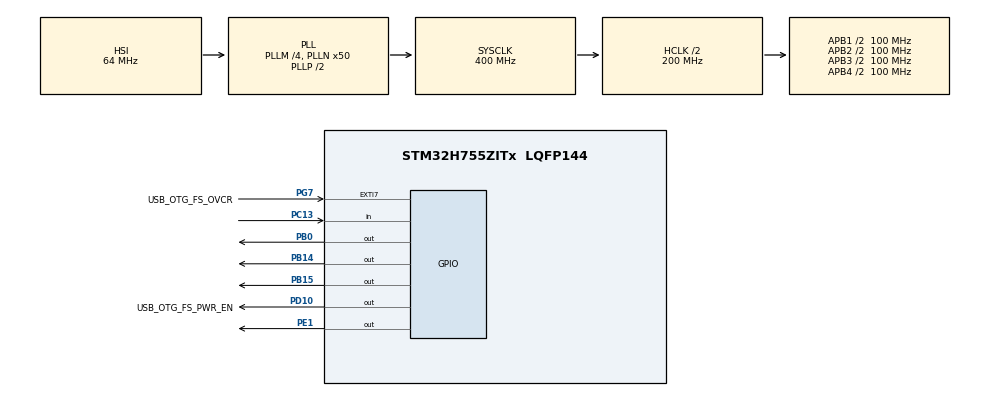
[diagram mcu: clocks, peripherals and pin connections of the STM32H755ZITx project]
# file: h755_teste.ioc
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CortexM4.IPs=FATFS_M4\:I,FREERTOS_M4\:I,IWDG2\:I,RCC,WWDG2\:I,DMA,BDMA,MDMA,NVIC2\:I,ETH,USART3,DEBUG,PDM2PCM_M4\:I,PWR,RESMGR_UTILITY,SYS_M4\:I,USB_DEVICE_M4\:I,USB_HOST_M4\:I,CORTEX_M4\:I,GPIO,OPENAMP_M4\:I,VREFBUF,NUCLEO-H755ZI-Q
CortexM4.Pins=PB0,PB14,PE1
CortexM7.IPs=FATFS_M7\:I,FREERTOS_M7\:I,IWDG1\:I,RCC\:I,WWDG1\:I,DMA\:I,BDMA\:I,MDMA\:I,NVIC1\:I,ETH\:I,USART3\:I,USB_OTG_FS\:I,SYS\:I,CORTEX_M7\:I,DEBUG\:I,PDM2PCM_M7\:I,PWR\:I,RESMGR_UTILITY\:I,USB_DEVICE_M7\:I,USB_HOST_M7\:I,GPIO\:I,OPENAMP_M7\:I,VREFBUF\:I,NUCLEO-H755ZI-Q\:I,MEMORYMAP\:I
CortexM7.Pins=PB15
Mcu.Family=STM32H7
Mcu.Name=STM32H755ZITx
Mcu.Package=LQFP144
NVIC1.PriorityGroup=NVIC_PRIORITYGROUP_4
NVIC2.PriorityGroup=NVIC_PRIORITYGROUP_4
PA1.PinAttribute=CortexM7
PA1.Signal=ETH_REF_CLK
PA11.PinAttribute=CortexM7
PA11.Signal=USB_OTG_FS_DM
PA12.PinAttribute=CortexM7
PA12.Signal=USB_OTG_FS_DP
PA2.PinAttribute=CortexM7
PA2.Signal=ETH_MDIO
PA7.PinAttribute=CortexM7
PA7.Signal=ETH_CRS_DV
PA8.PinAttribute=CortexM7
PA8.Signal=USB_OTG_FS_SOF
PA9.PinAttribute=CortexM7
PA9.Signal=USB_OTG_FS_VBUS
PB0.PinAttribute=CortexM4
PB0.Signal=GPIO_Output
PB13.PinAttribute=CortexM7
PB13.Signal=ETH_TXD1
PB14.PinAttribute=CortexM4
PB14.Signal=GPIO_Output
PB15.PinAttribute=CortexM7
PB15.Signal=GPIO_Output
PC1.PinAttribute=CortexM7
PC1.Signal=ETH_MDC
PC13.PinAttribute=Free
PC13.Signal=GPIO_Input
PC14-OSC32_IN\ (OSC32_IN).PinAttribute=Free
PC14-OSC32_IN\ (OSC32_IN).Signal=RCC_OSC32_IN
PC15-OSC32_OUT\ (OSC32_OUT).PinAttribute=Free
PC15-OSC32_OUT\ (OSC32_OUT).Signal=RCC_OSC32_OUT
PC4.PinAttribute=CortexM7
PC4.Signal=ETH_RXD0
PC5.PinAttribute=CortexM7
PC5.Signal=ETH_RXD1
PD10.GPIO_Label=USB_OTG_FS_PWR_EN
PD10.PinAttribute=Free
PD10.Signal=GPIO_Output
PD8.PinAttribute=CortexM7
PD8.Signal=USART3_TX
PD9.PinAttribute=CortexM7
PD9.Signal=USART3_RX
PE1.PinAttribute=CortexM4
PE1.Signal=GPIO_Output
PG11.PinAttribute=CortexM7
PG11.Signal=ETH_TX_EN
PG13.PinAttribute=CortexM7
PG13.Signal=ETH_TXD0
PG7.GPIO_Label=USB_OTG_FS_OVCR
PG7.PinAttribute=Free
PG7.Signal=GPXTI7
PH0-OSC_IN\ (PH0).Mode=HSE-External-Oscillator
PH0-OSC_IN\ (PH0).PinAttribute=Free
PH0-OSC_IN\ (PH0).Signal=RCC_OSC_IN
PH1-OSC_OUT\ (PH1).Mode=HSE-External-Oscillator
PH1-OSC_OUT\ (PH1).PinAttribute=Free
PH1-OSC_OUT\ (PH1).Signal=RCC_OSC_OUT
ProjectManager.HeapSize=M4-0x200,M7-0x200
ProjectManager.StackSize=M4-0x400,M7-0x400
ProjectManager.TargetToolchain=STM32CubeIDE
RCC.ADCFreq_Value=80000000
RCC.APB1Freq_Value=100000000
RCC.APB2Freq_Value=100000000
RCC.APB3Freq_Value=100000000
RCC.APB4Freq_Value=100000000
RCC.CortexFreq_Value=400000000
RCC.D1PPRE=RCC_APB3_DIV2
RCC.D2PPRE1=RCC_APB1_DIV2
RCC.D2PPRE2=RCC_APB2_DIV2
RCC.D3PPRE=RCC_APB4_DIV2
RCC.DIVM1=4
RCC.DIVM2=4
RCC.DIVN1=50
RCC.DIVN2=10
RCC.DIVQ1=5
RCC.HCLKFreq_Value=200000000
RCC.HPRE=RCC_HCLK_DIV2
RCC.HSE_VALUE=8000000
RCC.PLL2FRACN=0
RCC.PLL3FRACN=0
RCC.PLLFRACN=0
RCC.SYSCLKFreq_VALUE=400000000
RCC.SYSCLKSource=RCC_SYSCLKSOURCE_PLLCLK
RCC.SupplySource=PWR_DIRECT_SMPS_SUPPLY
RCC.USBFreq_Value=160000000
VP_MEMORYMAP_VS_MEMORYMAP.Mode=CurAppReg
VP_SYS_M4_VS_Systick.Mode=SysTick
board=NUCLEO-H755ZI-Q

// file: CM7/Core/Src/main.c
/* USER CODE BEGIN Header */
/**
 ******************************************************************************
 * @file           : main.c
 * @brief          : Main program body
 ******************************************************************************
 * @attention
 *
 * Copyright (c) 2026 STMicroelectronics.
 * All rights reserved.
 *
 * This software is licensed under terms that can be found in the LICENSE file
 * in the root directory of this software component.
 * If no LICENSE file comes with this software, it is provided AS-IS.
 *
 ******************************************************************************
 */
/* USER CODE END Header */
#include "main.h"
#include "gpio.h"

/* USER CODE BEGIN Includes */

#include <math.h>
#include <stdint.h>

/* USER CODE END Includes */

/* USER CODE BEGIN PD */

/* DUAL_CORE_BOOT_SYNC_SEQUENCE: Define for dual core boot synchronization    */
/*                             demonstration code based on hardware semaphore */
/* This define is present in both CM7/CM4 projects                            */
/* To comment when developping/debugging on a single core                     */
#define DUAL_CORE_BOOT_SYNC_SEQUENCE

#if defined(DUAL_CORE_BOOT_SYNC_SEQUENCE)
#ifndef HSEM_ID_0
#define HSEM_ID_0 (0U) /* HW semaphore 0*/
#endif
#endif /* DUAL_CORE_BOOT_SYNC_SEQUENCE */

/* USER CODE END PD */

/* USER CODE BEGIN PM */

#define PI_F 3.14159265359f
#define TWO_PI_F 6.28318530718f
#define HALF_PI_F 1.57079632679f
#define SIN_LUT_SIZE 1024U
#define SIN_LUT_INV_STEP ((float)SIN_LUT_SIZE / TWO_PI_F)

/* USER CODE END PM */

/* USER CODE BEGIN PV */

/* Símbolos exportados pelo Linker Script (.ld) */
extern uint32_t _sitcm_text; // Endereço de carga (LMA) na FLASH
extern uint32_t _sitcm_ram;  // Endereço de execução (VMA) no início da ITCM RAM
extern uint32_t _eitcm_ram;  // Endereço de fim da seção na ITCM RAM

float resultado_sin[2], resultado_cos[2];
volatile uint32_t ciclos_sin_itcm_total = 0;
volatile uint32_t ciclos_sinf_flash_total = 0;
volatile uint32_t ciclos_sin_itcm_medio = 0;
volatile uint32_t ciclos_sinf_flash_medio = 0;
volatile float benchmark_sink = 0.0f;

static float sin_lut[SIN_LUT_SIZE + 1U];
static uint8_t sin_lut_ready = 0U;

/* USER CODE END PV */

void SystemClock_Config(void);
/* USER CODE BEGIN PFP */

// CONFIG MEMORIA RAM
static void DWT_CycleCounter_Init(void);
static void Benchmark_Sin_Performance(void);
static void SinLut_Init(void);

void Move_Code_To_ITCM(void)
{
  uint32_t *pSrc = &_sitcm_text;
  uint32_t *pDest = &_sitcm_ram;

  // Copia palavra por palavra (32 bits) conforme a granularidade suportada [3]
  while (pDest < &_eitcm_ram)
  {
    *pDest++ = *pSrc++;
  }

  // Barreira de memória para garantir que o código esteja pronto para execução
  __DSB();
  __ISB();
}

__attribute__((section(".itcm_text"))) static float wrap_to_pi(float x)
{
  while (x > PI_F)
  {
    x -= TWO_PI_F;
  }
  while (x < -PI_F)
  {
    x += TWO_PI_F;
  }
  return x;
}

static void SinLut_Init(void)
{
  uint32_t i;

  if (sin_lut_ready != 0U)
  {
    return;
  }

  for (i = 0; i <= SIN_LUT_SIZE; i++)
  {
    float angle = ((float)i * TWO_PI_F) / (float)SIN_LUT_SIZE;
    sin_lut[i] = sinf(angle);
  }

  sin_lut_ready = 1U;
}

/* Implementacao em ITCM com lookup table + interpolacao linear */
__attribute__((section(".itcm_text"))) float sin_itcm(float x)
{
  float idx_f;
  uint32_t idx;
  float frac;
  float y0;
  float y1;

  x = wrap_to_pi(x);

  if (x < 0.0f)
  {
    x += TWO_PI_F;
  }

  idx_f = x * SIN_LUT_INV_STEP;
  idx = (uint32_t)idx_f;

  if (idx >= SIN_LUT_SIZE)
  {
    idx = SIN_LUT_SIZE - 1U;
    frac = 1.0f;
  }
  else
  {
    frac = idx_f - (float)idx;
  }

  y0 = sin_lut[idx];
  y1 = sin_lut[idx + 1U];

  return y0 + (y1 - y0) * frac;
}

__attribute__((section(".itcm_text"))) float cos_itcm(float x)
{
  return sin_itcm(HALF_PI_F + x);
}

static void DWT_CycleCounter_Init(void)
{
  CoreDebug->DEMCR |= CoreDebug_DEMCR_TRCENA_Msk;
  DWT->CYCCNT = 0;
  DWT->CTRL |= DWT_CTRL_CYCCNTENA_Msk;
}

static void Benchmark_Sin_Performance(void)
{
  uint32_t ini;
  uint32_t fim;
  uint32_t i;
  float x = 0.1f;
  const uint32_t iteracoes = 2000U;
  volatile float acc = 0.0f;

  ini = DWT->CYCCNT;
  for (i = 0; i < iteracoes; i++)
  {
    acc += sin_itcm(x);
    x += 0.001f;
  }
  fim = DWT->CYCCNT;
  ciclos_sin_itcm_total = fim - ini;

  x = 0.1f;
  ini = DWT->CYCCNT;
  for (i = 0; i < iteracoes; i++)
  {
    acc += sinf(x);
    x += 0.001f;
  }
  fim = DWT->CYCCNT;
  ciclos_sinf_flash_total = fim - ini;

  ciclos_sin_itcm_medio = ciclos_sin_itcm_total / iteracoes;
  ciclos_sinf_flash_medio = ciclos_sinf_flash_total / iteracoes;
  benchmark_sink = acc;
}

/* USER CODE END PFP */

int main(void)
{

/* USER CODE BEGIN Boot_Mode_Sequence_0 */
#if defined(DUAL_CORE_BOOT_SYNC_SEQUENCE)
  int32_t timeout;
#endif /* DUAL_CORE_BOOT_SYNC_SEQUENCE */
/* USER CODE END Boot_Mode_Sequence_0 */

/* USER CODE BEGIN Boot_Mode_Sequence_1 */
#if defined(DUAL_CORE_BOOT_SYNC_SEQUENCE)
  /* Wait until CPU2 boots and enters in stop mode or timeout*/
  timeout = 0xFFFF;
  while ((__HAL_RCC_GET_FLAG(RCC_FLAG_D2CKRDY) != RESET) && (timeout-- > 0))
    ;
  if (timeout < 0)
  {
    Error_Handler();
  }
#endif /* DUAL_CORE_BOOT_SYNC_SEQUENCE */
/* USER CODE END Boot_Mode_Sequence_1 */
  /* MCU Configuration--------------------------------------------------------*/

  /* Reset of all peripherals, Initializes the Flash interface and the Systick. */
  HAL_Init();

  /* Configure the system clock */
  SystemClock_Config();
/* USER CODE BEGIN Boot_Mode_Sequence_2 */
#if defined(DUAL_CORE_BOOT_SYNC_SEQUENCE)
  /* When system initialization is finished, Cortex-M7 will release Cortex-M4 by means of
  HSEM notification */
  /*HW semaphore Clock enable*/
  __HAL_RCC_HSEM_CLK_ENABLE();
  /*Take HSEM */
  HAL_HSEM_FastTake(HSEM_ID_0);
  /*Release HSEM in order to notify the CPU2(CM4)*/
  HAL_HSEM_Release(HSEM_ID_0, 0);
  /* wait until CPU2 wakes up from stop mode */
  timeout = 0xFFFF;
  while ((__HAL_RCC_GET_FLAG(RCC_FLAG_D2CKRDY) == RESET) && (timeout-- > 0))
    ;
  if (timeout < 0)
  {
    Error_Handler();
  }
#endif /* DUAL_CORE_BOOT_SYNC_SEQUENCE */
/* USER CODE END Boot_Mode_Sequence_2 */

  /* Initialize all configured peripherals */
  MX_GPIO_Init();
  /* USER CODE BEGIN 2 */

  // Memoria RAM
  Move_Code_To_ITCM();
  SinLut_Init();
  DWT_CycleCounter_Init();
  Benchmark_Sin_Performance();
  float angulo = 0.5f;

  /* USER CODE END 2 */

  /* Infinite loop */
  /* USER CODE BEGIN WHILE */
  while (1)
  {
    resultado_sin[0] = sin_itcm(angulo);
    resultado_sin[1] = sinf(angulo);
    resultado_cos[0] = cos_itcm(angulo);
    resultado_cos[1] = cosf(angulo);

    angulo += 0.01f;

    /* USER CODE END WHILE */

  }
}

void SystemClock_Config(void)
{
  RCC_OscInitTypeDef RCC_OscInitStruct = {0};
  RCC_ClkInitTypeDef RCC_ClkInitStruct = {0};

  /** Supply configuration update enable
  */
  HAL_PWREx_ConfigSupply(PWR_DIRECT_SMPS_SUPPLY);

  /** Configure the main internal regulator output voltage
  */
  __HAL_PWR_VOLTAGESCALING_CONFIG(PWR_REGULATOR_VOLTAGE_SCALE1);

  while(!__HAL_PWR_GET_FLAG(PWR_FLAG_VOSRDY)) {}

  /** Initializes the RCC Oscillators according to the specified parameters
  * in the RCC_OscInitTypeDef structure.
  */
  RCC_OscInitStruct.OscillatorType = RCC_OSCILLATORTYPE_HSI;
  RCC_OscInitStruct.HSIState = RCC_HSI_DIV1;
  RCC_OscInitStruct.HSICalibrationValue = RCC_HSICALIBRATION_DEFAULT;
  RCC_OscInitStruct.PLL.PLLState = RCC_PLL_ON;
  RCC_OscInitStruct.PLL.PLLSource = RCC_PLLSOURCE_HSI;
  RCC_OscInitStruct.PLL.PLLM = 4;
  RCC_OscInitStruct.PLL.PLLN = 50;
  RCC_OscInitStruct.PLL.PLLP = 2;
  RCC_OscInitStruct.PLL.PLLQ = 5;
  RCC_OscInitStruct.PLL.PLLR = 2;
  RCC_OscInitStruct.PLL.PLLRGE = RCC_PLL1VCIRANGE_3;
  RCC_OscInitStruct.PLL.PLLVCOSEL = RCC_PLL1VCOWIDE;
  RCC_OscInitStruct.PLL.PLLFRACN = 0;
  if (HAL_RCC_OscConfig(&RCC_OscInitStruct) != HAL_OK)
  {
    Error_Handler();
  }

  /** Initializes the CPU, AHB and APB buses clocks
  */
  RCC_ClkInitStruct.ClockType = RCC_CLOCKTYPE_HCLK|RCC_CLOCKTYPE_SYSCLK
                              |RCC_CLOCKTYPE_PCLK1|RCC_CLOCKTYPE_PCLK2
                              |RCC_CLOCKTYPE_D3PCLK1|RCC_CLOCKTYPE_D1PCLK1;
  RCC_ClkInitStruct.SYSCLKSource = RCC_SYSCLKSOURCE_PLLCLK;
  RCC_ClkInitStruct.SYSCLKDivider = RCC_SYSCLK_DIV1;
  RCC_ClkInitStruct.AHBCLKDivider = RCC_HCLK_DIV2;
  RCC_ClkInitStruct.APB3CLKDivider = RCC_APB3_DIV2;
  RCC_ClkInitStruct.APB1CLKDivider = RCC_APB1_DIV2;
  RCC_ClkInitStruct.APB2CLKDivider = RCC_APB2_DIV2;
  RCC_ClkInitStruct.APB4CLKDivider = RCC_APB4_DIV2;

  if (HAL_RCC_ClockConfig(&RCC_ClkInitStruct, FLASH_LATENCY_2) != HAL_OK)
  {
    Error_Handler();
  }
}

void Error_Handler(void)
{
  __disable_irq();
  while (1)
  {
  }
}
